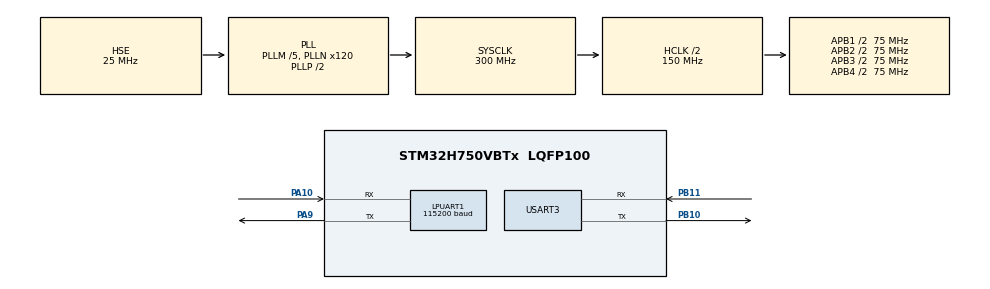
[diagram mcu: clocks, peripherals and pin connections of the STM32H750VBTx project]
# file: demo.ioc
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Bdma.LPUART1_RX.0.Direction=DMA_PERIPH_TO_MEMORY
Bdma.LPUART1_RX.0.EventEnable=DISABLE
Bdma.LPUART1_RX.0.Instance=BDMA_Channel0
Bdma.LPUART1_RX.0.MemDataAlignment=DMA_MDATAALIGN_BYTE
Bdma.LPUART1_RX.0.MemInc=DMA_MINC_ENABLE
Bdma.LPUART1_RX.0.Mode=DMA_NORMAL
Bdma.LPUART1_RX.0.PeriphDataAlignment=DMA_PDATAALIGN_BYTE
Bdma.LPUART1_RX.0.PeriphInc=DMA_PINC_DISABLE
Bdma.LPUART1_RX.0.Polarity=HAL_DMAMUX_REQ_GEN_RISING
Bdma.LPUART1_RX.0.Priority=DMA_PRIORITY_LOW
Bdma.LPUART1_RX.0.RequestNumber=1
Bdma.LPUART1_RX.0.SignalID=NONE
Bdma.LPUART1_RX.0.SyncEnable=DISABLE
Bdma.LPUART1_RX.0.SyncPolarity=HAL_DMAMUX_SYNC_NO_EVENT
Bdma.LPUART1_RX.0.SyncRequestNumber=1
Bdma.LPUART1_RX.0.SyncSignalID=NONE
Bdma.LPUART1_TX.1.Direction=DMA_MEMORY_TO_PERIPH
Bdma.LPUART1_TX.1.EventEnable=DISABLE
Bdma.LPUART1_TX.1.Instance=BDMA_Channel1
Bdma.LPUART1_TX.1.MemDataAlignment=DMA_MDATAALIGN_BYTE
Bdma.LPUART1_TX.1.MemInc=DMA_MINC_ENABLE
Bdma.LPUART1_TX.1.Mode=DMA_NORMAL
Bdma.LPUART1_TX.1.PeriphDataAlignment=DMA_PDATAALIGN_BYTE
Bdma.LPUART1_TX.1.PeriphInc=DMA_PINC_DISABLE
Bdma.LPUART1_TX.1.Polarity=HAL_DMAMUX_REQ_GEN_RISING
Bdma.LPUART1_TX.1.Priority=DMA_PRIORITY_LOW
Bdma.LPUART1_TX.1.RequestNumber=1
Bdma.LPUART1_TX.1.SignalID=NONE
Bdma.LPUART1_TX.1.SyncEnable=DISABLE
Bdma.LPUART1_TX.1.SyncPolarity=HAL_DMAMUX_SYNC_NO_EVENT
Bdma.LPUART1_TX.1.SyncRequestNumber=1
Bdma.LPUART1_TX.1.SyncSignalID=NONE
Bdma.Request0=LPUART1_RX
Bdma.Request1=LPUART1_TX
Bdma.RequestsNb=2
CORTEX_M7.AccessPermission-Cortex_Memory_Protection_Unit_Region2_Settings=MPU_REGION_FULL_ACCESS
CORTEX_M7.BaseAddress-Cortex_Memory_Protection_Unit_Region2_Settings=0x24000000
CORTEX_M7.Enable-Cortex_Memory_Protection_Unit_Region0_Settings=__NULL
CORTEX_M7.Enable-Cortex_Memory_Protection_Unit_Region2_Settings=MPU_REGION_ENABLE
CORTEX_M7.IsCacheable-Cortex_Memory_Protection_Unit_Region2_Settings=MPU_ACCESS_CACHEABLE
CORTEX_M7.IsShareable-Cortex_Memory_Protection_Unit_Region2_Settings=MPU_ACCESS_SHAREABLE
CORTEX_M7.MPU_Control=__NULL
CORTEX_M7.Size-Cortex_Memory_Protection_Unit_Region2_Settings=MPU_REGION_SIZE_512KB
Dma.Request0=USART3_RX
Dma.USART3_RX.0.Direction=DMA_PERIPH_TO_MEMORY
Dma.USART3_RX.0.EventEnable=DISABLE
Dma.USART3_RX.0.FIFOMode=DMA_FIFOMODE_DISABLE
Dma.USART3_RX.0.Instance=DMA1_Stream0
Dma.USART3_RX.0.MemDataAlignment=DMA_MDATAALIGN_BYTE
Dma.USART3_RX.0.MemInc=DMA_MINC_ENABLE
Dma.USART3_RX.0.Mode=DMA_NORMAL
Dma.USART3_RX.0.PeriphDataAlignment=DMA_PDATAALIGN_BYTE
Dma.USART3_RX.0.PeriphInc=DMA_PINC_DISABLE
Dma.USART3_RX.0.Polarity=HAL_DMAMUX_REQ_GEN_RISING
Dma.USART3_RX.0.Priority=DMA_PRIORITY_VERY_HIGH
Dma.USART3_RX.0.RequestNumber=1
Dma.USART3_RX.0.SignalID=NONE
Dma.USART3_RX.0.SyncEnable=DISABLE
Dma.USART3_RX.0.SyncPolarity=HAL_DMAMUX_SYNC_NO_EVENT
Dma.USART3_RX.0.SyncRequestNumber=1
Dma.USART3_RX.0.SyncSignalID=NONE
FREERTOS.Events01=usart1Event,Dynamic,NULL;initEvent,Dynamic,NULL
FREERTOS.Tasks01=defaultTask,24,128,StartDefaultTask,Default,NULL,Dynamic,NULL,NULL;usart1Task,23,128,Usart01Task,Default,NULL,Dynamic,NULL,NULL;wifiTask,15,128,WifiTask,Default,NULL,Dynamic,NULL,NULL;usart3task,22,512,Usart3Task,Default,NULL,Dynamic,NULL,NULL
LPUART1.BaudRate=115200
LPUART1.FIFOMode=UART_FIFOMODE_DISABLE
Mcu.Family=STM32H7
Mcu.Name=STM32H750VBTx
Mcu.Package=LQFP100
NVIC.BDMA_Channel0_IRQn=true\:15\:0\:true\:false\:true\:true\:true\:true\:true
NVIC.BDMA_Channel1_IRQn=true\:15\:0\:true\:false\:true\:true\:true\:true\:true
NVIC.DMA1_Stream0_IRQn=true\:14\:0\:true\:false\:true\:true\:true\:true\:true
NVIC.LPUART1_IRQn=true\:6\:0\:true\:false\:true\:true\:true\:true\:true
NVIC.PriorityGroup=NVIC_PRIORITYGROUP_4
NVIC.TIM17_IRQn=true\:15\:0\:false\:false\:true\:false\:false\:true\:true
NVIC.TimeBase=TIM17_IRQn
NVIC.TimeBaseIP=TIM17
NVIC.USART3_IRQn=true\:6\:0\:true\:false\:true\:true\:true\:true\:true
PA10.Mode=Asynchronous
PA10.Signal=LPUART1_RX
PA13\ (JTMS/SWDIO).Mode=Serial_Wire
PA13\ (JTMS/SWDIO).Signal=DEBUG_JTMS-SWDIO
PA14\ (JTCK/SWCLK).Mode=Serial_Wire
PA14\ (JTCK/SWCLK).Signal=DEBUG_JTCK-SWCLK
PA9.Mode=Asynchronous
PA9.Signal=LPUART1_TX
PB10.Mode=Asynchronous
PB10.Signal=USART3_TX
PB11.Mode=Asynchronous
PB11.Signal=USART3_RX
PC14-OSC32_IN\ (OSC32_IN).Mode=LSE-External-Oscillator
PC14-OSC32_IN\ (OSC32_IN).Signal=RCC_OSC32_IN
PC15-OSC32_OUT\ (OSC32_OUT).Mode=LSE-External-Oscillator
PC15-OSC32_OUT\ (OSC32_OUT).Signal=RCC_OSC32_OUT
PH0-OSC_IN\ (PH0).Mode=HSE-External-Oscillator
PH0-OSC_IN\ (PH0).Signal=RCC_OSC_IN
PH1-OSC_OUT\ (PH1).Mode=HSE-External-Oscillator
PH1-OSC_OUT\ (PH1).Signal=RCC_OSC_OUT
ProjectManager.HeapSize=0x200
ProjectManager.StackSize=0x400
ProjectManager.TargetToolchain=MDK-ARM V5.32
RCC.ADCFreq_Value=300000000
RCC.APB1Freq_Value=75000000
RCC.APB2Freq_Value=75000000
RCC.APB3Freq_Value=75000000
RCC.APB4Freq_Value=75000000
RCC.CortexFreq_Value=300000000
RCC.D1PPRE=RCC_APB3_DIV2
RCC.D2PPRE1=RCC_APB1_DIV2
RCC.D2PPRE2=RCC_APB2_DIV2
RCC.D3PPRE=RCC_APB4_DIV2
RCC.DIVM1=5
RCC.DIVM2=5
RCC.DIVM3=5
RCC.DIVN1=120
RCC.DIVN2=120
RCC.DIVN3=120
RCC.DIVR1=4
RCC.HCLKFreq_Value=150000000
RCC.HPRE=RCC_HCLK_DIV2
RCC.HSE_VALUE=25000000
RCC.PLLSourceVirtual=RCC_PLLSOURCE_HSE
RCC.SYSCLKFreq_VALUE=300000000
RCC.SYSCLKSource=RCC_SYSCLKSOURCE_PLLCLK
RCC.USBFreq_Value=300000000
USART3.VirtualMode-Asynchronous=VM_ASYNC
VP_FREERTOS_VS_CMSIS_V2.Mode=CMSIS_V2
VP_SYS_VS_tim17.Mode=TIM17
board=custom

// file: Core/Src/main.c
/* USER CODE BEGIN Header */
/**
  ******************************************************************************
  * @file           : main.c
  * @brief          : Main program body
  ******************************************************************************
  * @attention
  *
  * Copyright (c) 2023 STMicroelectronics.
  * All rights reserved.
  *
  * This software is licensed under terms that can be found in the LICENSE file
  * in the root directory of this software component.
  * If no LICENSE file comes with this software, it is provided AS-IS.
  *
  ******************************************************************************
  */
/* USER CODE END Header */
#include "main.h"
#include "cmsis_os.h"
#include "bdma.h"
#include "dma.h"
#include "usart.h"
#include "gpio.h"

/* USER CODE BEGIN Includes */
#include "stdio.h"
#include "stm32h750xx.h"
/* USER CODE END Includes */

/* USER CODE BEGIN PV */
extern DMA_HandleTypeDef hdma_lpuart1_tx;

/* USER CODE END PV */

void SystemClock_Config(void);
void MX_FREERTOS_Init(void);

int main(void)
{

  /* MCU Configuration--------------------------------------------------------*/

  /* Reset of all peripherals, Initializes the Flash interface and the Systick. */
  HAL_Init();

  /* Configure the system clock */
  SystemClock_Config();

  /* Initialize all configured peripherals */
  MX_GPIO_Init();
  MX_BDMA_Init();
  MX_LPUART1_UART_Init();
  MX_DMA_Init();
  MX_USART3_UART_Init();

  /* Init scheduler */
  osKernelInitialize();  /* Call init function for freertos objects (in freertos.c) */
  MX_FREERTOS_Init();

  /* Start scheduler */
  osKernelStart();

  /* We should never get here as control is now taken by the scheduler */
  /* Infinite loop */
  while (1)
  {

  }
}

void SystemClock_Config(void)
{
  RCC_OscInitTypeDef RCC_OscInitStruct = {0};
  RCC_ClkInitTypeDef RCC_ClkInitStruct = {0};

  /** Supply configuration update enable
  */
  HAL_PWREx_ConfigSupply(PWR_LDO_SUPPLY);

  /** Configure the main internal regulator output voltage
  */
  __HAL_PWR_VOLTAGESCALING_CONFIG(PWR_REGULATOR_VOLTAGE_SCALE2);

  while(!__HAL_PWR_GET_FLAG(PWR_FLAG_VOSRDY)) {}

  /** Initializes the RCC Oscillators according to the specified parameters
  * in the RCC_OscInitTypeDef structure.
  */
  RCC_OscInitStruct.OscillatorType = RCC_OSCILLATORTYPE_HSE;
  RCC_OscInitStruct.HSEState = RCC_HSE_ON;
  RCC_OscInitStruct.PLL.PLLState = RCC_PLL_ON;
  RCC_OscInitStruct.PLL.PLLSource = RCC_PLLSOURCE_HSE;
  RCC_OscInitStruct.PLL.PLLM = 5;
  RCC_OscInitStruct.PLL.PLLN = 120;
  RCC_OscInitStruct.PLL.PLLP = 2;
  RCC_OscInitStruct.PLL.PLLQ = 2;
  RCC_OscInitStruct.PLL.PLLR = 4;
  RCC_OscInitStruct.PLL.PLLRGE = RCC_PLL1VCIRANGE_2;
  RCC_OscInitStruct.PLL.PLLVCOSEL = RCC_PLL1VCOWIDE;
  RCC_OscInitStruct.PLL.PLLFRACN = 0;
  if (HAL_RCC_OscConfig(&RCC_OscInitStruct) != HAL_OK)
  {
    Error_Handler();
  }

  /** Initializes the CPU, AHB and APB buses clocks
  */
  RCC_ClkInitStruct.ClockType = RCC_CLOCKTYPE_HCLK|RCC_CLOCKTYPE_SYSCLK
                              |RCC_CLOCKTYPE_PCLK1|RCC_CLOCKTYPE_PCLK2
                              |RCC_CLOCKTYPE_D3PCLK1|RCC_CLOCKTYPE_D1PCLK1;
  RCC_ClkInitStruct.SYSCLKSource = RCC_SYSCLKSOURCE_PLLCLK;
  RCC_ClkInitStruct.SYSCLKDivider = RCC_SYSCLK_DIV1;
  RCC_ClkInitStruct.AHBCLKDivider = RCC_HCLK_DIV2;
  RCC_ClkInitStruct.APB3CLKDivider = RCC_APB3_DIV2;
  RCC_ClkInitStruct.APB1CLKDivider = RCC_APB1_DIV2;
  RCC_ClkInitStruct.APB2CLKDivider = RCC_APB2_DIV2;
  RCC_ClkInitStruct.APB4CLKDivider = RCC_APB4_DIV2;

  if (HAL_RCC_ClockConfig(&RCC_ClkInitStruct, FLASH_LATENCY_2) != HAL_OK)
  {
    Error_Handler();
  }
}

void HAL_TIM_PeriodElapsedCallback(TIM_HandleTypeDef *htim)
{
  if (htim->Instance == TIM17) {
    HAL_IncTick();
  }
}

void Error_Handler(void)
{
  __disable_irq();
  while (1)
  {
  }
}

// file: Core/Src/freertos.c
/* USER CODE BEGIN Header */
/**
  ******************************************************************************
  * File Name          : freertos.c
  * Description        : Code for freertos applications
  ******************************************************************************
  * @attention
  *
  * Copyright (c) 2023 STMicroelectronics.
  * All rights reserved.
  *
  * This software is licensed under terms that can be found in the LICENSE file
  * in the root directory of this software component.
  * If no LICENSE file comes with this software, it is provided AS-IS.
  *
  ******************************************************************************
  */
/* USER CODE END Header */

#include "FreeRTOS.h"
#include "task.h"
#include "main.h"
#include "cmsis_os.h"

/* USER CODE BEGIN Includes */
#include "usart.h"
#include <stdio.h>
#include <string.h>
#include "dev8266.h"
/* USER CODE END Includes */

/* USER CODE BEGIN PTD */
enum INITOVER_EventFlag{
  INITOVER_UART_CMD = 1,
  INITOVER_UART_WIFI,
};
/* USER CODE END PTD */

/* USER CODE BEGIN PM */
extern uint8_t rx_len_cmd;
extern uint8_t rx_buffer_cmd[200];

extern uint8_t rx_flag_wifi;
extern uint8_t rx_len_wifi;
extern uint8_t rx_buffer_wifi[1024];
extern uint8_t rx_data_wifi[1024];
extern DMA_HandleTypeDef hdma_usart3_rx;
/* USER CODE END PM */

/* Definitions for defaultTask */
osThreadId_t defaultTaskHandle;
const osThreadAttr_t defaultTask_attributes = {
  .name = "defaultTask",
  .stack_size = 128 * 4,
  .priority = (osPriority_t) osPriorityNormal,
};
/* Definitions for usart1Task */
osThreadId_t usart1TaskHandle;
const osThreadAttr_t usart1Task_attributes = {
  .name = "usart1Task",
  .stack_size = 128 * 4,
  .priority = (osPriority_t) osPriorityBelowNormal7,
};
/* Definitions for wifiTask */
osThreadId_t wifiTaskHandle;
const osThreadAttr_t wifiTask_attributes = {
  .name = "wifiTask",
  .stack_size = 128 * 4,
  .priority = (osPriority_t) osPriorityLow7,
};
/* Definitions for usart3task */
osThreadId_t usart3taskHandle;
const osThreadAttr_t usart3task_attributes = {
  .name = "usart3task",
  .stack_size = 512 * 4,
  .priority = (osPriority_t) osPriorityBelowNormal6,
};
/* Definitions for usart1Event */
osEventFlagsId_t usart1EventHandle;
const osEventFlagsAttr_t usart1Event_attributes = {
  .name = "usart1Event"
};
/* Definitions for initEvent */
osEventFlagsId_t initEventHandle;
const osEventFlagsAttr_t initEvent_attributes = {
  .name = "initEvent"
};

void StartDefaultTask(void *argument);
void Usart01Task(void *argument);
void WifiTask(void *argument);
void Usart3Task(void *argument);

void MX_FREERTOS_Init(void); /* (MISRA C 2004 rule 8.1) */

void MX_FREERTOS_Init(void) {

  /* Create the thread(s) */
  /* creation of defaultTask */
  defaultTaskHandle = osThreadNew(StartDefaultTask, NULL, &defaultTask_attributes);

  /* creation of usart1Task */
  usart1TaskHandle = osThreadNew(Usart01Task, NULL, &usart1Task_attributes);

  /* creation of wifiTask */
  wifiTaskHandle = osThreadNew(WifiTask, NULL, &wifiTask_attributes);

  /* creation of usart3task */
  usart3taskHandle = osThreadNew(Usart3Task, NULL, &usart3task_attributes);

  /* Create the event(s) */
  /* creation of usart1Event */
  usart1EventHandle = osEventFlagsNew(&usart1Event_attributes);

  /* creation of initEvent */
  initEventHandle = osEventFlagsNew(&initEvent_attributes);

}

void StartDefaultTask(void *argument)
{
  for(;;)
  {
    osDelay(1);
  }
}

void Usart01Task(void *argument)
{
  /* USER CODE BEGIN Usart01Task */
	MY_CMD_INIT();
	printf("CMD INIT OVER\r\n");
  osEventFlagsSet(initEventHandle, INITOVER_UART_CMD);
  osStatus result = 0;
  /* Infinite loop */
  for(;;)
  {
    result = osEventFlagsWait(usart1EventHandle, USART_FLAG_RECDATA,
                              osFlagsWaitAny | osFlagsNoClear, 0xffffffff);
    if(result == USART_FLAG_RECDATA)
		{
			MY_UART_Transmit(rx_buffer_cmd, rx_len_cmd);
			for(uint8_t i=0;i<rx_len_cmd;i++)
			{
				rx_buffer_cmd[i]=0;
			}
			rx_len_cmd=0;
      osEventFlagsClear(usart1EventHandle, USART_FLAG_RECDATA);
		}
    osDelay(1);
  }
  /* USER CODE END Usart01Task */
}

void WifiTask(void *argument)
{
  /* USER CODE BEGIN WifiTask */
  while(osEventFlagsGet (initEventHandle) & INITOVER_UART_WIFI  != INITOVER_UART_WIFI){
    osDelay(100);
  }

  Wifi_Reset();

  memset(rx_data_wifi, 0x00, sizeof(rx_data_wifi));

  while(Wifi_IsReady() != WIFI_OK){
    printf("wait 1...\r\n");
  }
  printf("WIFI ready\r\n");

	while(Wifi_WIFIMODE(3) != WIFI_OK){
    printf("wait 2...\r\n");
  }
  printf("WIFI mode ready\r\n");

  while(Wifi_JoinWifi("1234", "heweilong") != WIFI_OK){
    printf("wait 3...\r\n");
  }
  printf("WIFI JOIN WIFI\r\n");

  while(Wifi_ConnectMode(0) != WIFI_OK){
    printf("wait 4...\r\n");
  }
  printf("WIFI CONNECT MODE READY\r\n");

  while(Wifi_TCPConnect("183.230.40.39",6002) != WIFI_OK){
    printf("wait 5...\r\n");
  }
  printf("WIFI TCP CONNECT SERVER\r\n");

  Wifi_TransmissionMode(1);

  printf("WIFI INIT OVER\r\n");
  /* Infinite loop */
  for(;;)
  {
		//Wifi_IsReady();
    osDelay(100);
  }
  /* USER CODE END WifiTask */
}

void Usart3Task(void *argument)
{
  /* USER CODE BEGIN Usart3Task */
  while(osEventFlagsGet (initEventHandle) & INITOVER_UART_CMD  != INITOVER_UART_CMD){
    osDelay(100);
  }

  MY_WIFI_INIT();
	printf("UART WIFI INIT OVER\r\n");

  osEventFlagsSet(initEventHandle, INITOVER_UART_WIFI);

  static uint32_t lastCount = 0;
  uint32_t curCount  = 0;
  /* Infinite loop */
  for(;;)
  {
    //process all the receive data and intercept the first group data
    uint32_t temp  = __HAL_DMA_GET_COUNTER(&hdma_usart3_rx);
    curCount = sizeof(rx_buffer_wifi) - temp;

    if((curCount > 1) && (curCount == lastCount)){ //receive data over
      //stop uart rec
      HAL_UART_DMAStop(&huart3);

      //save this frame data
      memset(rx_data_wifi, 0x00, strlen((const char *)rx_data_wifi));
      memcpy(rx_data_wifi, rx_buffer_wifi, curCount);
      //save thisi data parameters
      rx_len_wifi = curCount;
      rx_flag_wifi = 1;

      //start uartuart rec
			memset(rx_buffer_wifi, 0x00, curCount);

      HAL_UART_Receive_DMA(&huart3, rx_buffer_wifi, sizeof(rx_buffer_wifi));

      //dis this frame message
      printf("curCount = %d\r\n", curCount);
      printf("wifi: %s\r\n", rx_data_wifi);
    }

    lastCount = curCount;

    osDelay(10);
  }
  /* USER CODE END Usart3Task */
}
